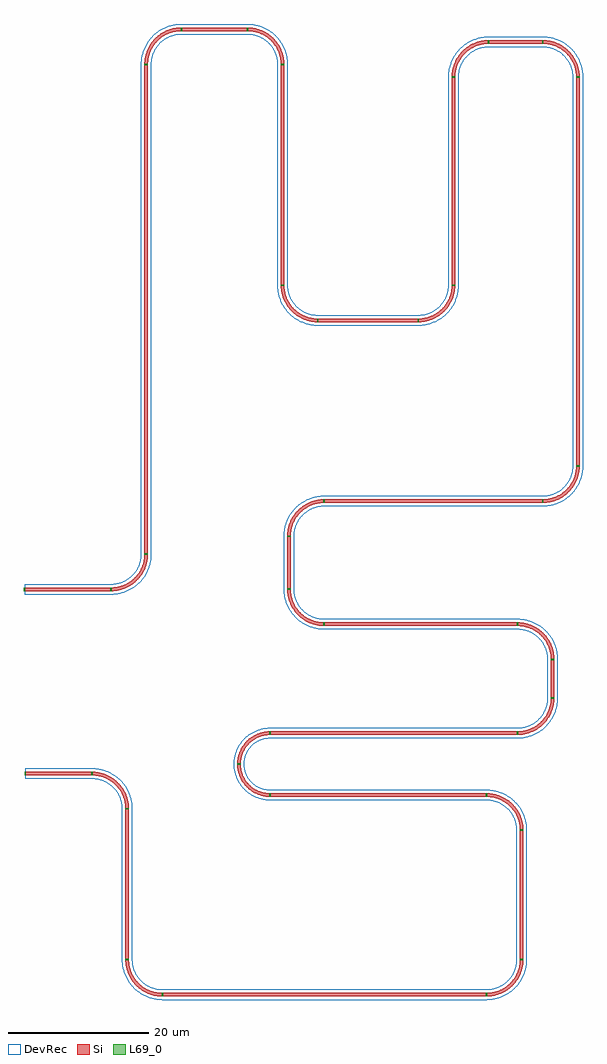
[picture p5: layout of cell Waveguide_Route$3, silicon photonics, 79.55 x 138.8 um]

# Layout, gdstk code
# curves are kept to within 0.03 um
from math import pi, radians
import gdstk
lib = gdstk.Library(unit=1e-6, precision=1e-09)
def R(c, l, rs):  # rectangles x0, y0, x1, y1
    for r in rs: c.add(gdstk.rectangle(r[:2], r[2:], *l))
def P(c, l, *ps):  # polygons
    for p in ps: c.add(gdstk.Polygon(p, *l))
Si = (1, 0)
DevRec = (68, 0)
L69_0 = (69, 0)

waveguide_bend_2 = lib.new_cell('Waveguide_Bend$2')
P(waveguide_bend_2, Si, [(-5,-0.25),(-5,0.25),(-4.057,0.345),(-3.151,0.625),(-2.432,1.004),(-1.69,1.594),(-1.079,2.319),(-0.625,3.151),(-0.345,4.057),(-0.25,5),(0.25,5),(0.145,3.957),(-0.164,2.956),(-0.583,2.162),(-1.235,1.341),(-2.037,0.666),(-2.956,0.164),(-3.957,-0.145)])
P(waveguide_bend_2, DevRec, [(-5,-0.75),(-5,0.75),(-4.156,0.835),(-3.346,1.085),(-2.702,1.425),(-2.038,1.952),(-1.492,2.601),(-1.085,3.346),(-0.835,4.156),(-0.75,5),(0.75,5),(0.666,4.019),(0.358,2.914),(-0.163,1.891),(-0.876,0.993),(-1.754,0.254),(-2.762,-0.296),(-3.858,-0.635)])
waveguide_bend_2.add(gdstk.FlexPath([(0,5.1),(0,4.9)], 0.5, ends="flush", simple_path=True, layer=69, datatype=0))  # L69_0
waveguide_bend_2.add(gdstk.FlexPath([(-4.9,0),(-5.1,0)], 0.5, ends="flush", simple_path=True, layer=69, datatype=0))  # L69_0
waveguide_bend_2.add(gdstk.Label('Lumerical_INTERCONNECT_library=Design kits/ebeam_v1.1', (-4.5,0), layer=68, texttype=0))
waveguide_bend_2.add(gdstk.Label('Lumerical_INTERCONNECT_component=ebeam_bend_1550', (-4.5,1.25), layer=68, texttype=0))
waveguide_bend_2.add(gdstk.Label('Spice_param:radius=5.000u wg_width=0.500u', (-4.5,2.5), layer=68, texttype=0))
waveguide_bend_2.add(gdstk.Label('pin2', (0,5), layer=69, texttype=0))
waveguide_bend_2.add(gdstk.Label('pin1', (-5,0), layer=69, texttype=0))

waveguide_bend_3 = lib.new_cell('Waveguide_Bend$3')
P(waveguide_bend_3, Si, [(-4.4,-0.25),(-4.4,0.25),(-3.529,0.342),(-2.812,0.566),(-2.147,0.915),(-1.466,1.466),(-0.915,2.147),(-0.566,2.812),(-0.342,3.529),(-0.25,4.4),(0.25,4.4),(0.174,3.562),(-0.104,2.621),(-0.573,1.758),(-1.112,1.112),(-1.758,0.573),(-2.621,0.104),(-3.562,-0.174)])
P(waveguide_bend_3, DevRec, [(-4.4,-0.75),(-4.4,0.75),(-3.634,0.831),(-3.003,1.028),(-2.418,1.335),(-1.819,1.819),(-1.335,2.418),(-1.028,3.003),(-0.831,3.634),(-0.75,4.4),(0.75,4.4),(0.666,3.472),(0.358,2.429),(-0.075,1.604),(-0.758,0.758),(-1.604,0.075),(-2.429,-0.358),(-3.472,-0.666)])
waveguide_bend_3.add(gdstk.FlexPath([(0,4.5),(0,4.3)], 0.5, ends="flush", simple_path=True, layer=69, datatype=0))  # L69_0
waveguide_bend_3.add(gdstk.FlexPath([(-4.3,0),(-4.5,0)], 0.5, ends="flush", simple_path=True, layer=69, datatype=0))  # L69_0
waveguide_bend_3.add(gdstk.Label('Lumerical_INTERCONNECT_library=Design kits/ebeam_v1.1', (-3.96,0), layer=68, texttype=0))
waveguide_bend_3.add(gdstk.Label('Lumerical_INTERCONNECT_component=ebeam_bend_1550', (-3.96,1.1), layer=68, texttype=0))
waveguide_bend_3.add(gdstk.Label('Spice_param:radius=4.400u wg_width=0.500u', (-3.96,2.2), layer=68, texttype=0))
waveguide_bend_3.add(gdstk.Label('pin2', (0,4.4), layer=69, texttype=0))
waveguide_bend_3.add(gdstk.Label('pin1', (-4.4,0), layer=69, texttype=0))

waveguide_straight_21 = lib.new_cell('Waveguide_Straight$21')
R(waveguide_straight_21, Si, [(-34.825,-0.25,34.825,0.25)])
R(waveguide_straight_21, DevRec, [(-34.825,-0.75,34.825,0.75)])
waveguide_straight_21.add(gdstk.FlexPath([(-34.925,0),(-34.725,0)], 0.5, ends="flush", simple_path=True, layer=69, datatype=0))  # L69_0
waveguide_straight_21.add(gdstk.FlexPath([(34.725,0),(34.925,0)], 0.5, ends="flush", simple_path=True, layer=69, datatype=0))  # L69_0
waveguide_straight_21.add(gdstk.Label('Lumerical_INTERCONNECT_library=Design kits/ebeam_v1.0', (0,0), layer=68, texttype=0))
waveguide_straight_21.add(gdstk.Label('Lumerical_INTERCONNECT_component=ebeam_wg_strip_1550', (6.965,0), layer=68, texttype=0))
waveguide_straight_21.add(gdstk.Label('Spice_param:wg_width=0.500u wg_length=69.650u', (7.738,0), layer=68, texttype=0))
waveguide_straight_21.add(gdstk.Label('pin1', (-34.825,0), layer=69, texttype=0))
waveguide_straight_21.add(gdstk.Label('pin2', (34.825,0), layer=69, texttype=0))

waveguide_straight_22 = lib.new_cell('Waveguide_Straight$22')
R(waveguide_straight_22, Si, [(-4.7,-0.25,4.7,0.25)])
R(waveguide_straight_22, DevRec, [(-4.7,-0.75,4.7,0.75)])
waveguide_straight_22.add(gdstk.FlexPath([(-4.8,0),(-4.6,0)], 0.5, ends="flush", simple_path=True, layer=69, datatype=0))  # L69_0
waveguide_straight_22.add(gdstk.FlexPath([(4.6,0),(4.8,0)], 0.5, ends="flush", simple_path=True, layer=69, datatype=0))  # L69_0
waveguide_straight_22.add(gdstk.Label('Lumerical_INTERCONNECT_library=Design kits/ebeam_v1.0', (0,0), layer=68, texttype=0))
waveguide_straight_22.add(gdstk.Label('Lumerical_INTERCONNECT_component=ebeam_wg_strip_1550', (0.94,0), layer=68, texttype=0))
waveguide_straight_22.add(gdstk.Label('Spice_param:wg_width=0.500u wg_length=9.400u', (1.044,0), layer=68, texttype=0))
waveguide_straight_22.add(gdstk.Label('pin1', (-4.7,0), layer=69, texttype=0))
waveguide_straight_22.add(gdstk.Label('pin2', (4.7,0), layer=69, texttype=0))

waveguide_straight_23 = lib.new_cell('Waveguide_Straight$23')
R(waveguide_straight_23, Si, [(-15.7,-0.25,15.7,0.25)])
R(waveguide_straight_23, DevRec, [(-15.7,-0.75,15.7,0.75)])
waveguide_straight_23.add(gdstk.FlexPath([(-15.8,0),(-15.6,0)], 0.5, ends="flush", simple_path=True, layer=69, datatype=0))  # L69_0
waveguide_straight_23.add(gdstk.FlexPath([(15.6,0),(15.8,0)], 0.5, ends="flush", simple_path=True, layer=69, datatype=0))  # L69_0
waveguide_straight_23.add(gdstk.Label('Lumerical_INTERCONNECT_library=Design kits/ebeam_v1.0', (0,0), layer=68, texttype=0))
waveguide_straight_23.add(gdstk.Label('Lumerical_INTERCONNECT_component=ebeam_wg_strip_1550', (3.14,0), layer=68, texttype=0))
waveguide_straight_23.add(gdstk.Label('Spice_param:wg_width=0.500u wg_length=31.400u', (3.488,0), layer=68, texttype=0))
waveguide_straight_23.add(gdstk.Label('pin1', (-15.7,0), layer=69, texttype=0))
waveguide_straight_23.add(gdstk.Label('pin2', (15.7,0), layer=69, texttype=0))

waveguide_straight_24 = lib.new_cell('Waveguide_Straight$24')
R(waveguide_straight_24, Si, [(-7.15,-0.25,7.15,0.25)])
R(waveguide_straight_24, DevRec, [(-7.15,-0.75,7.15,0.75)])
waveguide_straight_24.add(gdstk.FlexPath([(-7.25,0),(-7.05,0)], 0.5, ends="flush", simple_path=True, layer=69, datatype=0))  # L69_0
waveguide_straight_24.add(gdstk.FlexPath([(7.05,0),(7.25,0)], 0.5, ends="flush", simple_path=True, layer=69, datatype=0))  # L69_0
waveguide_straight_24.add(gdstk.Label('Lumerical_INTERCONNECT_library=Design kits/ebeam_v1.0', (0,0), layer=68, texttype=0))
waveguide_straight_24.add(gdstk.Label('Lumerical_INTERCONNECT_component=ebeam_wg_strip_1550', (1.43,0), layer=68, texttype=0))
waveguide_straight_24.add(gdstk.Label('Spice_param:wg_width=0.500u wg_length=14.300u', (1.588,0), layer=68, texttype=0))
waveguide_straight_24.add(gdstk.Label('pin1', (-7.15,0), layer=69, texttype=0))
waveguide_straight_24.add(gdstk.Label('pin2', (7.15,0), layer=69, texttype=0))

waveguide_straight_25 = lib.new_cell('Waveguide_Straight$25')
R(waveguide_straight_25, Si, [(-14.8,-0.25,14.8,0.25)])
R(waveguide_straight_25, DevRec, [(-14.8,-0.75,14.8,0.75)])
waveguide_straight_25.add(gdstk.FlexPath([(-14.9,0),(-14.7,0)], 0.5, ends="flush", simple_path=True, layer=69, datatype=0))  # L69_0
waveguide_straight_25.add(gdstk.FlexPath([(14.7,0),(14.9,0)], 0.5, ends="flush", simple_path=True, layer=69, datatype=0))  # L69_0
waveguide_straight_25.add(gdstk.Label('Lumerical_INTERCONNECT_library=Design kits/ebeam_v1.0', (0,0), layer=68, texttype=0))
waveguide_straight_25.add(gdstk.Label('Lumerical_INTERCONNECT_component=ebeam_wg_strip_1550', (2.96,0), layer=68, texttype=0))
waveguide_straight_25.add(gdstk.Label('Spice_param:wg_width=0.500u wg_length=29.600u', (3.288,0), layer=68, texttype=0))
waveguide_straight_25.add(gdstk.Label('pin1', (-14.8,0), layer=69, texttype=0))
waveguide_straight_25.add(gdstk.Label('pin2', (14.8,0), layer=69, texttype=0))

waveguide_straight_26 = lib.new_cell('Waveguide_Straight$26')
R(waveguide_straight_26, Si, [(-3.85,-0.25,3.85,0.25)])
R(waveguide_straight_26, DevRec, [(-3.85,-0.75,3.85,0.75)])
waveguide_straight_26.add(gdstk.FlexPath([(-3.95,0),(-3.75,0)], 0.5, ends="flush", simple_path=True, layer=69, datatype=0))  # L69_0
waveguide_straight_26.add(gdstk.FlexPath([(3.75,0),(3.95,0)], 0.5, ends="flush", simple_path=True, layer=69, datatype=0))  # L69_0
waveguide_straight_26.add(gdstk.Label('Lumerical_INTERCONNECT_library=Design kits/ebeam_v1.0', (0,0), layer=68, texttype=0))
waveguide_straight_26.add(gdstk.Label('Lumerical_INTERCONNECT_component=ebeam_wg_strip_1550', (0.77,0), layer=68, texttype=0))
waveguide_straight_26.add(gdstk.Label('Spice_param:wg_width=0.500u wg_length=7.700u', (0.855,0), layer=68, texttype=0))
waveguide_straight_26.add(gdstk.Label('pin1', (-3.85,0), layer=69, texttype=0))
waveguide_straight_26.add(gdstk.Label('pin2', (3.85,0), layer=69, texttype=0))

waveguide_straight_27 = lib.new_cell('Waveguide_Straight$27')
R(waveguide_straight_27, Si, [(-27.65,-0.25,27.65,0.25)])
R(waveguide_straight_27, DevRec, [(-27.65,-0.75,27.65,0.75)])
waveguide_straight_27.add(gdstk.FlexPath([(-27.75,0),(-27.55,0)], 0.5, ends="flush", simple_path=True, layer=69, datatype=0))  # L69_0
waveguide_straight_27.add(gdstk.FlexPath([(27.55,0),(27.75,0)], 0.5, ends="flush", simple_path=True, layer=69, datatype=0))  # L69_0
waveguide_straight_27.add(gdstk.Label('Lumerical_INTERCONNECT_library=Design kits/ebeam_v1.0', (0,0), layer=68, texttype=0))
waveguide_straight_27.add(gdstk.Label('Lumerical_INTERCONNECT_component=ebeam_wg_strip_1550', (5.53,0), layer=68, texttype=0))
waveguide_straight_27.add(gdstk.Label('Spice_param:wg_width=0.500u wg_length=55.300u', (6.144,0), layer=68, texttype=0))
waveguide_straight_27.add(gdstk.Label('pin1', (-27.65,0), layer=69, texttype=0))
waveguide_straight_27.add(gdstk.Label('pin2', (27.65,0), layer=69, texttype=0))

waveguide_straight_28 = lib.new_cell('Waveguide_Straight$28')
R(waveguide_straight_28, Si, [(-15.55,-0.25,15.55,0.25)])
R(waveguide_straight_28, DevRec, [(-15.55,-0.75,15.55,0.75)])
waveguide_straight_28.add(gdstk.FlexPath([(-15.65,0),(-15.45,0)], 0.5, ends="flush", simple_path=True, layer=69, datatype=0))  # L69_0
waveguide_straight_28.add(gdstk.FlexPath([(15.45,0),(15.65,0)], 0.5, ends="flush", simple_path=True, layer=69, datatype=0))  # L69_0
waveguide_straight_28.add(gdstk.Label('Lumerical_INTERCONNECT_library=Design kits/ebeam_v1.0', (0,0), layer=68, texttype=0))
waveguide_straight_28.add(gdstk.Label('Lumerical_INTERCONNECT_component=ebeam_wg_strip_1550', (3.11,0), layer=68, texttype=0))
waveguide_straight_28.add(gdstk.Label('Spice_param:wg_width=0.500u wg_length=31.100u', (3.455,0), layer=68, texttype=0))
waveguide_straight_28.add(gdstk.Label('pin1', (-15.55,0), layer=69, texttype=0))
waveguide_straight_28.add(gdstk.Label('pin2', (15.55,0), layer=69, texttype=0))

waveguide_straight_29 = lib.new_cell('Waveguide_Straight$29')
R(waveguide_straight_29, Si, [(-3.75,-0.25,3.75,0.25)])
R(waveguide_straight_29, DevRec, [(-3.75,-0.75,3.75,0.75)])
waveguide_straight_29.add(gdstk.FlexPath([(-3.85,0),(-3.65,0)], 0.5, ends="flush", simple_path=True, layer=69, datatype=0))  # L69_0
waveguide_straight_29.add(gdstk.FlexPath([(3.65,0),(3.85,0)], 0.5, ends="flush", simple_path=True, layer=69, datatype=0))  # L69_0
waveguide_straight_29.add(gdstk.Label('Lumerical_INTERCONNECT_library=Design kits/ebeam_v1.0', (0,0), layer=68, texttype=0))
waveguide_straight_29.add(gdstk.Label('Lumerical_INTERCONNECT_component=ebeam_wg_strip_1550', (0.75,0), layer=68, texttype=0))
waveguide_straight_29.add(gdstk.Label('Spice_param:wg_width=0.500u wg_length=7.500u', (0.833,0), layer=68, texttype=0))
waveguide_straight_29.add(gdstk.Label('pin1', (-3.75,0), layer=69, texttype=0))
waveguide_straight_29.add(gdstk.Label('pin2', (3.75,0), layer=69, texttype=0))

waveguide_straight_30 = lib.new_cell('Waveguide_Straight$30')
R(waveguide_straight_30, Si, [(-13.75,-0.25,13.75,0.25)])
R(waveguide_straight_30, DevRec, [(-13.75,-0.75,13.75,0.75)])
waveguide_straight_30.add(gdstk.FlexPath([(-13.85,0),(-13.65,0)], 0.5, ends="flush", simple_path=True, layer=69, datatype=0))  # L69_0
waveguide_straight_30.add(gdstk.FlexPath([(13.65,0),(13.85,0)], 0.5, ends="flush", simple_path=True, layer=69, datatype=0))  # L69_0
waveguide_straight_30.add(gdstk.Label('Lumerical_INTERCONNECT_library=Design kits/ebeam_v1.0', (0,0), layer=68, texttype=0))
waveguide_straight_30.add(gdstk.Label('Lumerical_INTERCONNECT_component=ebeam_wg_strip_1550', (2.75,0), layer=68, texttype=0))
waveguide_straight_30.add(gdstk.Label('Spice_param:wg_width=0.500u wg_length=27.500u', (3.055,0), layer=68, texttype=0))
waveguide_straight_30.add(gdstk.Label('pin1', (-13.75,0), layer=69, texttype=0))
waveguide_straight_30.add(gdstk.Label('pin2', (13.75,0), layer=69, texttype=0))

waveguide_straight_31 = lib.new_cell('Waveguide_Straight$31')
R(waveguide_straight_31, Si, [(-2.75,-0.25,2.75,0.25)])
R(waveguide_straight_31, DevRec, [(-2.75,-0.75,2.75,0.75)])
waveguide_straight_31.add(gdstk.FlexPath([(-2.85,0),(-2.65,0)], 0.5, ends="flush", simple_path=True, layer=69, datatype=0))  # L69_0
waveguide_straight_31.add(gdstk.FlexPath([(2.65,0),(2.85,0)], 0.5, ends="flush", simple_path=True, layer=69, datatype=0))  # L69_0
waveguide_straight_31.add(gdstk.Label('Lumerical_INTERCONNECT_library=Design kits/ebeam_v1.0', (0,0), layer=68, texttype=0))
waveguide_straight_31.add(gdstk.Label('Lumerical_INTERCONNECT_component=ebeam_wg_strip_1550', (0.55,0), layer=68, texttype=0))
waveguide_straight_31.add(gdstk.Label('Spice_param:wg_width=0.500u wg_length=5.500u', (0.611,0), layer=68, texttype=0))
waveguide_straight_31.add(gdstk.Label('pin1', (-2.75,0), layer=69, texttype=0))
waveguide_straight_31.add(gdstk.Label('pin2', (2.75,0), layer=69, texttype=0))

waveguide_straight_32 = lib.new_cell('Waveguide_Straight$32')
R(waveguide_straight_32, Si, [(-17.6,-0.25,17.6,0.25)])
R(waveguide_straight_32, DevRec, [(-17.6,-0.75,17.6,0.75)])
waveguide_straight_32.add(gdstk.FlexPath([(-17.7,0),(-17.5,0)], 0.5, ends="flush", simple_path=True, layer=69, datatype=0))  # L69_0
waveguide_straight_32.add(gdstk.FlexPath([(17.5,0),(17.7,0)], 0.5, ends="flush", simple_path=True, layer=69, datatype=0))  # L69_0
waveguide_straight_32.add(gdstk.Label('Lumerical_INTERCONNECT_library=Design kits/ebeam_v1.0', (0,0), layer=68, texttype=0))
waveguide_straight_32.add(gdstk.Label('Lumerical_INTERCONNECT_component=ebeam_wg_strip_1550', (3.52,0), layer=68, texttype=0))
waveguide_straight_32.add(gdstk.Label('Spice_param:wg_width=0.500u wg_length=35.200u', (3.911,0), layer=68, texttype=0))
waveguide_straight_32.add(gdstk.Label('pin1', (-17.6,0), layer=69, texttype=0))
waveguide_straight_32.add(gdstk.Label('pin2', (17.6,0), layer=69, texttype=0))

waveguide_straight_33 = lib.new_cell('Waveguide_Straight$33')
R(waveguide_straight_33, Si, [(-15.4,-0.25,15.4,0.25)])
R(waveguide_straight_33, DevRec, [(-15.4,-0.75,15.4,0.75)])
waveguide_straight_33.add(gdstk.FlexPath([(-15.5,0),(-15.3,0)], 0.5, ends="flush", simple_path=True, layer=69, datatype=0))  # L69_0
waveguide_straight_33.add(gdstk.FlexPath([(15.3,0),(15.5,0)], 0.5, ends="flush", simple_path=True, layer=69, datatype=0))  # L69_0
waveguide_straight_33.add(gdstk.Label('Lumerical_INTERCONNECT_library=Design kits/ebeam_v1.0', (0,0), layer=68, texttype=0))
waveguide_straight_33.add(gdstk.Label('Lumerical_INTERCONNECT_component=ebeam_wg_strip_1550', (3.08,0), layer=68, texttype=0))
waveguide_straight_33.add(gdstk.Label('Spice_param:wg_width=0.500u wg_length=30.800u', (3.422,0), layer=68, texttype=0))
waveguide_straight_33.add(gdstk.Label('pin1', (-15.4,0), layer=69, texttype=0))
waveguide_straight_33.add(gdstk.Label('pin2', (15.4,0), layer=69, texttype=0))

waveguide_straight_34 = lib.new_cell('Waveguide_Straight$34')
R(waveguide_straight_34, Si, [(-9.2,-0.25,9.2,0.25)])
R(waveguide_straight_34, DevRec, [(-9.2,-0.75,9.2,0.75)])
waveguide_straight_34.add(gdstk.FlexPath([(-9.3,0),(-9.1,0)], 0.5, ends="flush", simple_path=True, layer=69, datatype=0))  # L69_0
waveguide_straight_34.add(gdstk.FlexPath([(9.1,0),(9.3,0)], 0.5, ends="flush", simple_path=True, layer=69, datatype=0))  # L69_0
waveguide_straight_34.add(gdstk.Label('Lumerical_INTERCONNECT_library=Design kits/ebeam_v1.0', (0,0), layer=68, texttype=0))
waveguide_straight_34.add(gdstk.Label('Lumerical_INTERCONNECT_component=ebeam_wg_strip_1550', (1.84,0), layer=68, texttype=0))
waveguide_straight_34.add(gdstk.Label('Spice_param:wg_width=0.500u wg_length=18.400u', (2.044,0), layer=68, texttype=0))
waveguide_straight_34.add(gdstk.Label('pin1', (-9.2,0), layer=69, texttype=0))
waveguide_straight_34.add(gdstk.Label('pin2', (9.2,0), layer=69, texttype=0))

waveguide_straight_35 = lib.new_cell('Waveguide_Straight$35')
R(waveguide_straight_35, Si, [(-23.05,-0.25,23.05,0.25)])
R(waveguide_straight_35, DevRec, [(-23.05,-0.75,23.05,0.75)])
waveguide_straight_35.add(gdstk.FlexPath([(-23.15,0),(-22.95,0)], 0.5, ends="flush", simple_path=True, layer=69, datatype=0))  # L69_0
waveguide_straight_35.add(gdstk.FlexPath([(22.95,0),(23.15,0)], 0.5, ends="flush", simple_path=True, layer=69, datatype=0))  # L69_0
waveguide_straight_35.add(gdstk.Label('Lumerical_INTERCONNECT_library=Design kits/ebeam_v1.0', (0,0), layer=68, texttype=0))
waveguide_straight_35.add(gdstk.Label('Lumerical_INTERCONNECT_component=ebeam_wg_strip_1550', (4.61,0), layer=68, texttype=0))
waveguide_straight_35.add(gdstk.Label('Spice_param:wg_width=0.500u wg_length=46.100u', (5.122,0), layer=68, texttype=0))
waveguide_straight_35.add(gdstk.Label('pin1', (-23.05,0), layer=69, texttype=0))
waveguide_straight_35.add(gdstk.Label('pin2', (23.05,0), layer=69, texttype=0))

waveguide_straight_36 = lib.new_cell('Waveguide_Straight$36')
R(waveguide_straight_36, Si, [(-10.725,-0.25,10.725,0.25)])
R(waveguide_straight_36, DevRec, [(-10.725,-0.75,10.725,0.75)])
waveguide_straight_36.add(gdstk.FlexPath([(-10.825,0),(-10.625,0)], 0.5, ends="flush", simple_path=True, layer=69, datatype=0))  # L69_0
waveguide_straight_36.add(gdstk.FlexPath([(10.625,0),(10.825,0)], 0.5, ends="flush", simple_path=True, layer=69, datatype=0))  # L69_0
waveguide_straight_36.add(gdstk.Label('Lumerical_INTERCONNECT_library=Design kits/ebeam_v1.0', (0,0), layer=68, texttype=0))
waveguide_straight_36.add(gdstk.Label('Lumerical_INTERCONNECT_component=ebeam_wg_strip_1550', (2.145,0), layer=68, texttype=0))
waveguide_straight_36.add(gdstk.Label('Spice_param:wg_width=0.500u wg_length=21.450u', (2.383,0), layer=68, texttype=0))
waveguide_straight_36.add(gdstk.Label('pin1', (-10.725,0), layer=69, texttype=0))
waveguide_straight_36.add(gdstk.Label('pin2', (10.725,0), layer=69, texttype=0))

waveguide_straight_37 = lib.new_cell('Waveguide_Straight$37')
R(waveguide_straight_37, Si, [(-6.15,-0.25,6.15,0.25)])
R(waveguide_straight_37, DevRec, [(-6.15,-0.75,6.15,0.75)])
waveguide_straight_37.add(gdstk.FlexPath([(-6.25,0),(-6.05,0)], 0.5, ends="flush", simple_path=True, layer=69, datatype=0))  # L69_0
waveguide_straight_37.add(gdstk.FlexPath([(6.05,0),(6.25,0)], 0.5, ends="flush", simple_path=True, layer=69, datatype=0))  # L69_0
waveguide_straight_37.add(gdstk.Label('Lumerical_INTERCONNECT_library=Design kits/ebeam_v1.0', (0,0), layer=68, texttype=0))
waveguide_straight_37.add(gdstk.Label('Lumerical_INTERCONNECT_component=ebeam_wg_strip_1550', (1.23,0), layer=68, texttype=0))
waveguide_straight_37.add(gdstk.Label('Spice_param:wg_width=0.500u wg_length=12.300u', (1.366,0), layer=68, texttype=0))
waveguide_straight_37.add(gdstk.Label('pin1', (-6.15,0), layer=69, texttype=0))
waveguide_straight_37.add(gdstk.Label('pin2', (6.15,0), layer=69, texttype=0))

waveguide_straight_38 = lib.new_cell('Waveguide_Straight$38')
R(waveguide_straight_38, Si, [(-4.75,-0.25,4.75,0.25)])
R(waveguide_straight_38, DevRec, [(-4.75,-0.75,4.75,0.75)])
waveguide_straight_38.add(gdstk.FlexPath([(-4.85,0),(-4.65,0)], 0.5, ends="flush", simple_path=True, layer=69, datatype=0))  # L69_0
waveguide_straight_38.add(gdstk.FlexPath([(4.65,0),(4.85,0)], 0.5, ends="flush", simple_path=True, layer=69, datatype=0))  # L69_0
waveguide_straight_38.add(gdstk.Label('Lumerical_INTERCONNECT_library=Design kits/ebeam_v1.0', (0,0), layer=68, texttype=0))
waveguide_straight_38.add(gdstk.Label('Lumerical_INTERCONNECT_component=ebeam_wg_strip_1550', (0.95,0), layer=68, texttype=0))
waveguide_straight_38.add(gdstk.Label('Spice_param:wg_width=0.500u wg_length=9.500u', (1.055,0), layer=68, texttype=0))
waveguide_straight_38.add(gdstk.Label('pin1', (-4.75,0), layer=69, texttype=0))
waveguide_straight_38.add(gdstk.Label('pin2', (4.75,0), layer=69, texttype=0))

waveguide_route_3 = lib.new_cell('Waveguide_Route$3')
waveguide_route_3.add(gdstk.Reference(waveguide_bend_2, (30.3,21.05)))
waveguide_route_3.add(gdstk.Reference(waveguide_bend_2, (30.3,100.7), rotation=pi/2, x_reflection=True))
waveguide_route_3.add(gdstk.Reference(waveguide_bend_2, (49.7,100.7), x_reflection=True))
waveguide_route_3.add(gdstk.Reference(waveguide_bend_2, (49.7,59.3), rotation=3*pi/2))
waveguide_route_3.add(gdstk.Reference(waveguide_bend_2, (74,59.3)))
waveguide_route_3.add(gdstk.Reference(waveguide_bend_2, (74,98.9), rotation=pi/2, x_reflection=True))
waveguide_route_3.add(gdstk.Reference(waveguide_bend_2, (91.7,98.9), x_reflection=True))
waveguide_route_3.add(gdstk.Reference(waveguide_bend_2, (91.7,33.6), rotation=3*pi/2, x_reflection=True))
waveguide_route_3.add(gdstk.Reference(waveguide_bend_2, (50.6,33.6), rotation=pi))
waveguide_route_3.add(gdstk.Reference(waveguide_bend_2, (50.6,16.1), rotation=3*pi/2))
waveguide_route_3.add(gdstk.Reference(waveguide_bend_2, (88.1,16.1), x_reflection=True))
waveguide_route_3.add(gdstk.Reference(waveguide_bend_2, (88.1,0.6), rotation=3*pi/2, x_reflection=True))
waveguide_route_3.add(gdstk.Reference(waveguide_bend_3, (43.5,0.6), rotation=pi))
waveguide_route_3.add(gdstk.Reference(waveguide_bend_3, (43.5,-8.2), rotation=3*pi/2))
waveguide_route_3.add(gdstk.Reference(waveguide_bend_2, (83.7,-8.2), x_reflection=True))
waveguide_route_3.add(gdstk.Reference(waveguide_bend_2, (83.7,-36.6), rotation=3*pi/2, x_reflection=True))
waveguide_route_3.add(gdstk.Reference(waveguide_bend_2, (27.6,-36.6), rotation=pi, x_reflection=True))
waveguide_route_3.add(gdstk.Reference(waveguide_bend_2, (27.6,-5.15), rotation=pi/2))
waveguide_route_3.add(gdstk.Reference(waveguide_straight_21, (30.3,60.875), rotation=pi/2))
waveguide_route_3.add(gdstk.Reference(waveguide_straight_22, (40,100.7)))
waveguide_route_3.add(gdstk.Reference(waveguide_straight_23, (49.7,80), rotation=3*pi/2))
waveguide_route_3.add(gdstk.Reference(waveguide_straight_24, (61.85,59.3)))
waveguide_route_3.add(gdstk.Reference(waveguide_straight_25, (74,79.1), rotation=pi/2))
waveguide_route_3.add(gdstk.Reference(waveguide_straight_26, (82.85,98.9)))
waveguide_route_3.add(gdstk.Reference(waveguide_straight_27, (91.7,66.25), rotation=3*pi/2))
waveguide_route_3.add(gdstk.Reference(waveguide_straight_28, (71.15,33.6), rotation=pi))
waveguide_route_3.add(gdstk.Reference(waveguide_straight_29, (50.6,24.85), rotation=3*pi/2))
waveguide_route_3.add(gdstk.Reference(waveguide_straight_30, (69.35,16.1)))
waveguide_route_3.add(gdstk.Reference(waveguide_straight_31, (88.1,8.35), rotation=3*pi/2))
waveguide_route_3.add(gdstk.Reference(waveguide_straight_32, (65.5,0.6), rotation=pi))
waveguide_route_3.add(gdstk.Reference(waveguide_straight_33, (63.3,-8.2)))
waveguide_route_3.add(gdstk.Reference(waveguide_straight_34, (83.7,-22.4), rotation=3*pi/2))
waveguide_route_3.add(gdstk.Reference(waveguide_straight_35, (55.65,-36.6), rotation=pi))
waveguide_route_3.add(gdstk.Reference(waveguide_straight_36, (27.6,-20.875), rotation=pi/2))
waveguide_route_3.add(gdstk.Reference(waveguide_straight_37, (19.15,21.05)))
waveguide_route_3.add(gdstk.Reference(waveguide_straight_38, (17.85,-5.15), rotation=pi))

lib.write_gds('Waveguide_Route_3.gds')
